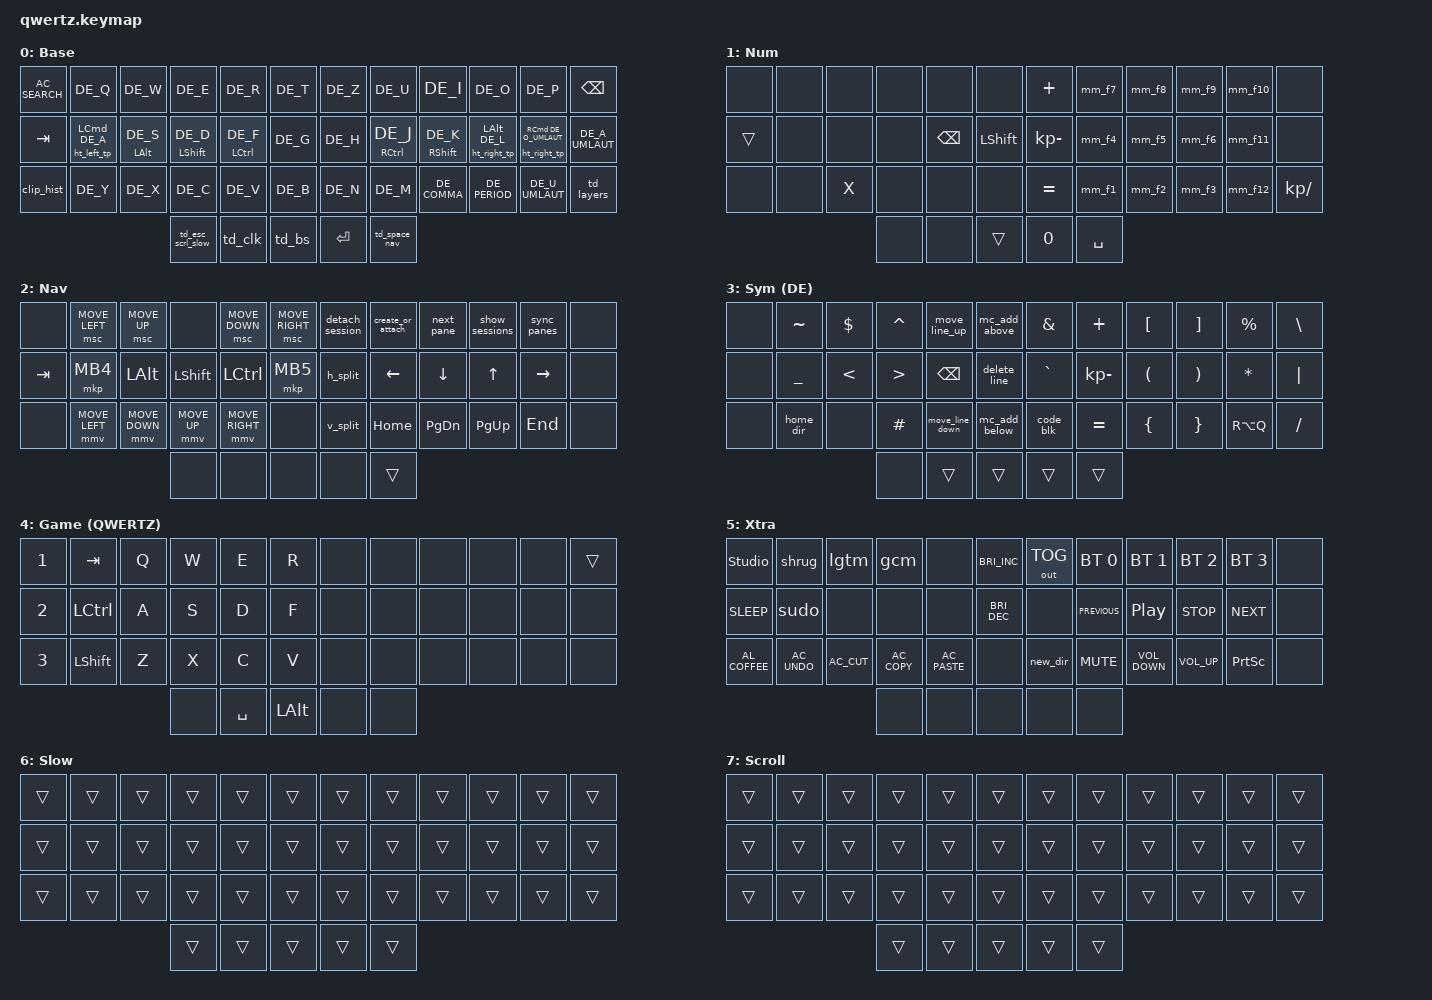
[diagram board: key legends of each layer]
/* upstream bindings and behaviors */
#include <behaviors.dtsi>
#include <dt-bindings/zmk/bt.h>
#include <dt-bindings/zmk/keys.h>
#include <dt-bindings/zmk/mouse.h>
#include <dt-bindings/zmk/outputs.h>
#include <behaviors/mouse_keys.dtsi>
#include <dt-bindings/zmk/ext_power.h>

/* local overlays */
#include "keymap_features/macros.dtsi"
#include "keymap_features/behaviors.dtsi"
#include "keymap_features/combos.dtsi"
#include "keymap_features/keys_de.h"

/ {
    keymap {
        compatible = "zmk,keymap";

        BASE {
            display-name = "Base";
            bindings = <
    &kp C_AC_SEARCH &kp DE_Q  &kp DE_W  &kp DE_E  &kp DE_R  &kp DE_T     &kp DE_Z  &kp DE_U   &kp DE_I      &kp DE_O       &kp DE_P         &kp BSPC
    &kp TAB          &ht_left_tp LCMD DE_A  &ht_left LALT DE_S  &ht_left LSHFT DE_D  &ht_left LCTRL DE_F  &kp DE_G    &kp DE_H   &ht_right RCTRL DE_J  &ht_right RSHFT DE_K   &ht_right_tp LALT DE_L  &ht_right_tp RCMD DE_O_UMLAUT   &kp DE_A_UMLAUT
    &clip_hist       &kp DE_Y  &kp DE_X  &kp DE_C  &kp DE_V  &kp DE_B     &kp DE_N  &kp DE_M   &kp DE_COMMA  &kp DE_PERIOD  &kp DE_U_UMLAUT          &td_layers
                                                             &td_esc_scrl_slow   &td_clk  &td_bs     &kp ENTER  &td_space_nav
            >;
        };

        NUM {
            display-name = "Num";
            bindings = <
&none   &none  &none   &none  &none          &none            &kp PLUS     &mm_f7             &mm_f8             &mm_f9             &mm_f10            &none
&trans   &none  &none  &none  &kp BACKSPACE  &kp LSHIFT       &kp KP_MINUS &mm_f4             &mm_f5             &mm_f6             &mm_f11            &none
&none    &none  &kp X  &none  &none          &none            &kp EQUAL    &mm_f1             &mm_f2             &mm_f3             &mm_f12            &kp KP_SLASH
                       &none  &none          &trans           &kp N0     &kp SPACE
            >;
        };

        NAV {
            display-name = "Nav";
            bindings = <
&none    &msc MOVE_LEFT  &msc MOVE_UP    &none        &msc MOVE_DOWN  &msc MOVE_RIGHT     &detach_session  &create_or_attach  &next_pane   &show_sessions  &sync_panes       &none
&kp TAB  &mkp MB4        &kp LALT        &kp LSHFT    &kp LCTRL       &mkp MB5            &h_split         &kp LEFT_ARROW     &kp DOWN     &kp UP          &kp RIGHT_ARROW   &none
&none    &mmv MOVE_LEFT  &mmv MOVE_DOWN  &mmv MOVE_UP &mmv MOVE_RIGHT &none               &v_split         &kp HOME           &kp PG_DN    &kp PG_UP       &kp END           &none
                                                      &none   &none   &none               &none   &trans
            >;
        };

        SYM {
            display-name = "Sym (DE)";
            bindings = <
&none  &kp TILDE  &kp DLLR  &kp CARET  &move_line_up    &mc_add_above      &kp AMPS   &kp PLUS     &kp LBKT      &kp RBKT      &kp PRCNT  &kp BSLH
&none  &kp UNDER  &kp LT    &kp GT     &kp BACKSPACE    &delete_line       &kp GRAVE  &kp KP_MINUS &kp LPAR      &kp RPAR      &kp ASTRK  &kp PIPE
&none  &home_dir  &none     &kp HASH   &move_line_down  &mc_add_below      &code_blk  &kp EQUAL    &kp LBRC      &kp RBRC      &kp RA(Q)  &kp FSLH
                                       &none  &trans     &trans            &trans   &trans
            >;
        };

        GAME {
            display-name = "Game (QWERTZ)";
            bindings = <
&kp N1  &kp TAB    &kp Q  &kp W   &kp E      &kp R           &none  &none  &none  &none  &none  &trans
&kp N2  &kp LCTRL  &kp A  &kp S   &kp D      &kp F           &none  &none  &none  &none  &none  &none
&kp N3  &kp LSHFT  &kp Z  &kp X   &kp C      &kp V           &none  &none  &none  &none  &none  &none
                          &none   &kp SPACE  &kp LEFT_ALT    &none  &none
            >;
        };

        EXTRAS {
            display-name = "Xtra";
            bindings = <
&studio_unlock    &shrug          &lgtm           &gcm            &none           &kp C_BRIGHTNESS_INC    &out OUT_TOG  &bt BT_SEL 0    &bt BT_SEL 1       &bt BT_SEL 2      &bt BT_SEL 3     &none
&kp C_SLEEP       &sudo           &none           &none           &none           &kp C_BRIGHTNESS_DEC    &none         &kp C_PREVIOUS  &kp C_PLAY_PAUSE   &kp C_STOP        &kp C_NEXT       &none
&kp C_AL_COFFEE   &kp C_AC_UNDO   &kp C_AC_CUT    &kp C_AC_COPY   &kp C_AC_PASTE  &none                   &new_dir      &kp K_MUTE      &kp C_VOLUME_DOWN  &kp C_VOLUME_UP   &kp PRINTSCREEN  &none
                                                                                   &none  &none  &none    &none         &none
            >;
        };

        SLOW {
            display-name = "Slow";
            bindings = <
    &trans &trans &trans &trans &trans &trans      &trans &trans &trans &trans &trans &trans
    &trans &trans &trans &trans &trans &trans      &trans &trans &trans &trans &trans &trans
    &trans &trans &trans &trans &trans &trans      &trans &trans &trans &trans &trans &trans
                          &trans &trans &trans      &trans &trans
            >;
        };

        SCROLL {
            display-name = "Scroll";
            bindings = <
    &trans &trans &trans &trans &trans &trans      &trans &trans &trans &trans &trans &trans
    &trans &trans &trans &trans &trans &trans      &trans &trans &trans &trans &trans &trans
    &trans &trans &trans &trans &trans &trans      &trans &trans &trans &trans &trans &trans
                          &trans &trans &trans      &trans &trans
            >;
        };
    };
};
